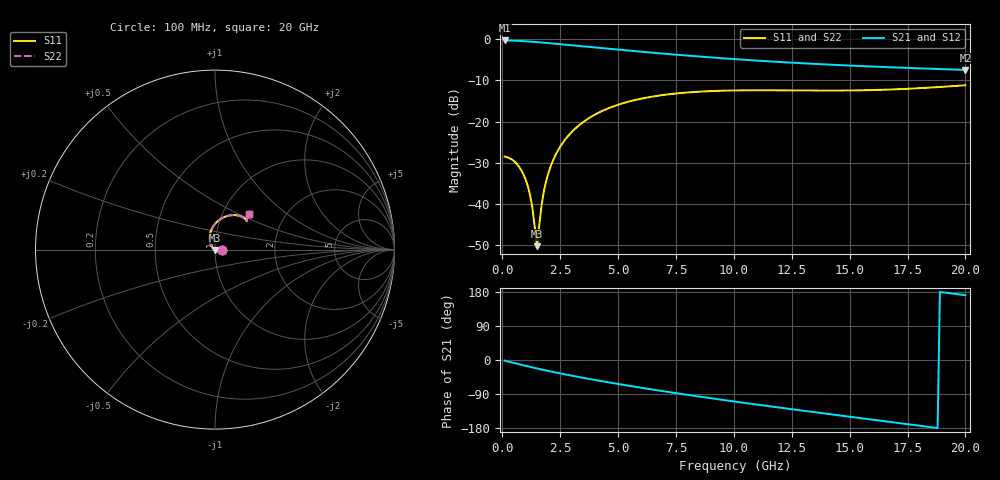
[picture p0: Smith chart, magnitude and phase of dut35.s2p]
! Created with skrf 1.9.0 (http://scikit-rf.org).
# GHz S RI R 50.0
!freq ReS11 ImS11 ReS21 ImS21 ReS12 ImS12 ReS22 ImS22
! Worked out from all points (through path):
!   200 points, 100 MHz to 20 GHz, reference 50 ohm
!   highest |S21| = -0.34 dB at 100 MHz (marker M1); lowest = -7.5 dB at 20 GHz (marker M2)
!   group delay of S21, straight-line fit = 24.9 ps
!   lowest |S11| = -50.2 dB at 1.5 GHz (marker M3), VSWR 1.01, Z = 49.8 - j0.236 ohm
!   |S11| at or under -10 dB: start of sweep to end of sweep
!   |S22| runs from -50.2 to -11.2 dB; largest |S21 - S12| = 2.1e-15
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0.1  0.0375 -0.00262  0.9616 -0.0256  0.9616 -0.0256  0.0375 -0.00262
0.6  0.0297 -0.00999  0.9413 -0.1539  0.9413 -0.1539  0.0297 -0.00999
0.8  0.0238 -0.0113  0.926 -0.202  0.926 -0.202  0.0238 -0.0113
1  0.0168 -0.0109  0.9074 -0.2476  0.9074 -0.2476  0.0168 -0.0109
1.2  0.00935 -0.00882  0.8858 -0.2906  0.8858 -0.2906  0.00935 -0.00882
1.3  0.00553 -0.0071  0.8741 -0.311  0.8741 -0.311  0.00553 -0.0071
1.5  -0.00198 -0.00237  0.8491 -0.3497  0.8491 -0.3497  -0.00198 -0.00237
1.7  -0.00904 0.00397  0.8224 -0.3855  0.8224 -0.3855  -0.00904 0.00397
1.8  -0.0123 0.00768  0.8085 -0.4023  0.8085 -0.4023  -0.0123 0.00768
1.9  -0.0153 0.0117  0.7944 -0.4185  0.7944 -0.4185  -0.0153 0.0117
2.1  -0.0207 0.0206  0.7654 -0.4488  0.7654 -0.4488  -0.0207 0.0206
2.4  -0.0266 0.0356  0.7207 -0.4894  0.7207 -0.4894  -0.0266 0.0356
2.7  -0.0298 0.0518  0.6752 -0.5247  0.6752 -0.5247  -0.0298 0.0518
3.5  -0.0257 0.0956  0.5533 -0.5967  0.5533 -0.5967  -0.0257 0.0956
4.1  -0.0129 0.1249  0.4636 -0.6328  0.4636 -0.6328  -0.0129 0.1249
4.9  0.0123 0.1559  0.3486 -0.6617  0.3486 -0.6617  0.0123 0.1559
6.8  0.0816 0.1904  0.1057 -0.663  0.1057 -0.663  0.0816 0.1904
8.4  0.1288 0.1898  -0.0597 -0.6145  -0.0597 -0.6145  0.1288 0.1898
10.1  0.1599 0.1772  -0.1966 -0.5346  -0.1966 -0.5346  0.1599 0.1772
13.4  0.1775 0.1582  -0.367 -0.3417  -0.367 -0.3417  0.1775 0.1582
16.7  0.1761 0.1691  -0.436 -0.1328  -0.436 -0.1328  0.1761 0.1691
20  0.189 0.2001  -0.4173 0.0659  -0.4173 0.0659  0.189 0.2001
